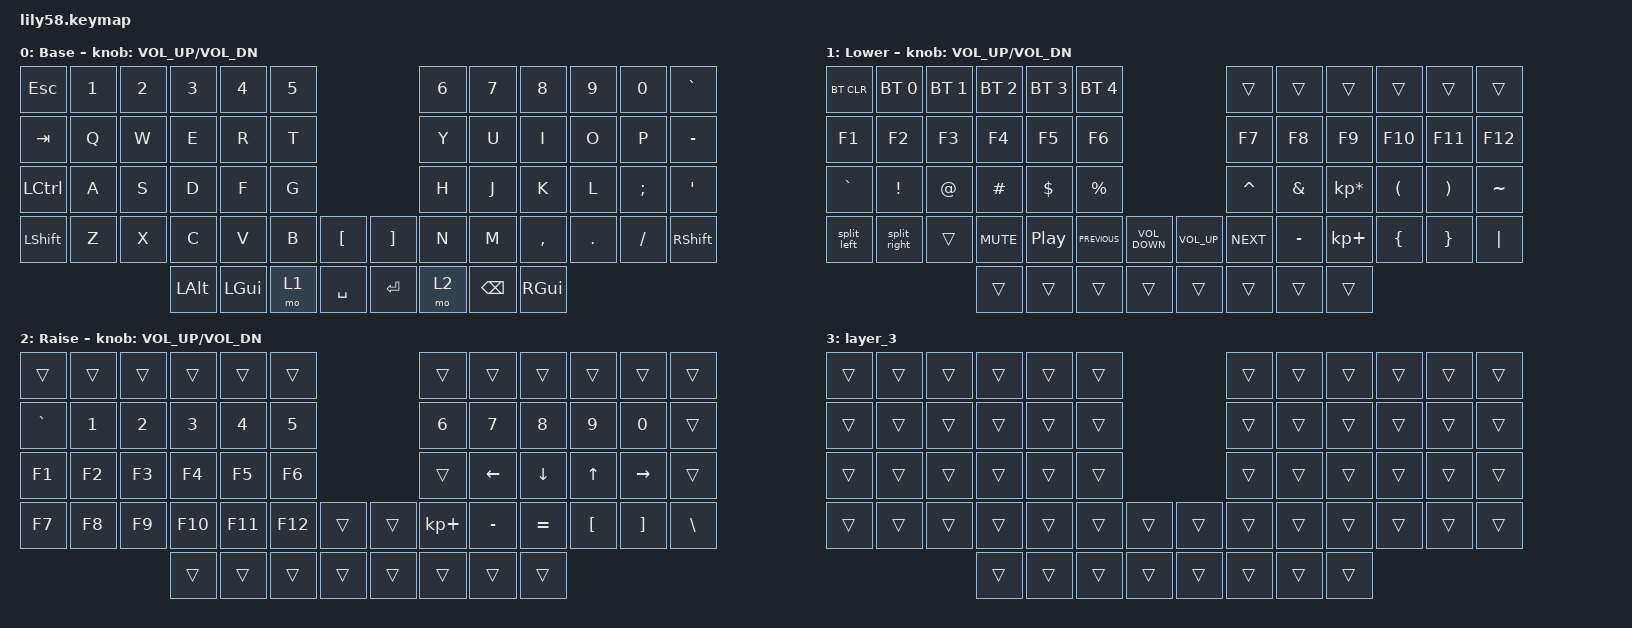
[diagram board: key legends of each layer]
/*
 * Copyright (c) 2020 The ZMK Contributors
 *
 * SPDX-License-Identifier: MIT
 */

#include <behaviors.dtsi>
#include <dt-bindings/zmk/bt.h>
#include <dt-bindings/zmk/keys.h>

/ {
    macros {
        split: split {
            compatible = "zmk,behavior-macro";
            #binding-cells = <0>;
            bindings = <&kp LEFT_CONTROL &kp LEFT_ALT &kp LEFT_COMMAND>;
            label = "SPLIT";
        };

        split_right: split_right {
            compatible = "zmk,behavior-macro";
            #binding-cells = <0>;
            bindings = <&split &kp RIGHT>;
            label = "SPLIT_RIGHT";
        };

        split_left: split_left {
            compatible = "zmk,behavior-macro";
            #binding-cells = <0>;
            bindings = <&split &kp LEFT>;
            label = "SPLIT_LEFT";
        };
    };

    keymap {
        compatible = "zmk,keymap";

        default_layer {
            // ------------------------------------------------------------------------------------------------------------
            // |  ESC  |  1  |  2  |  3   |  4   |  5   |                   |  6   |  7    |  8    |  9   |   0   |   `   |
            // |  TAB  |  Q  |  W  |  E   |  R   |  T   |                   |  Y   |  U    |  I    |  O   |   P   |   -   |
            // |  CTRL |  A  |  S  |  D   |  F   |  G   |                   |  H   |  J    |  K    |  L   |   ;   |   '   |
            // | SHIFT |  Z  |  X  |  C   |  V   |  B   |   "["  |  |  "]"  |  N   |  M    |  ,    |  .   |   /   | SHIFT |
            //                     | ALT  | GUI  | LOWER|  SPACE |  | ENTER | RAISE| BSPC  | GUI   |

            display-name = "Base";
            bindings = <
&kp ESC    &kp N1  &kp N2  &kp N3    &kp N4    &kp N5                         &kp N6  &kp N7    &kp N8     &kp N9   &kp N0    &kp GRAVE
&kp TAB    &kp Q   &kp W   &kp E     &kp R     &kp T                          &kp Y   &kp U     &kp I      &kp O    &kp P     &kp MINUS
&kp LCTRL  &kp A   &kp S   &kp D     &kp F     &kp G                          &kp H   &kp J     &kp K      &kp L    &kp SEMI  &kp SQT
&kp LSHFT  &kp Z   &kp X   &kp C     &kp V     &kp B   &kp LBKT     &kp RBKT  &kp N   &kp M     &kp COMMA  &kp DOT  &kp FSLH  &kp RSHFT
                           &kp LALT  &kp LGUI  &mo 1   &kp SPACE    &kp RET   &mo 2   &kp BSPC  &kp RGUI
            >;

            sensor-bindings = <&inc_dec_kp C_VOL_UP C_VOL_DN>;
        };

        lower_layer {
            // ------------------------------------------------------------------------------------------------------------
            // | BTCLR | BT1 | BT2 |  BT3 |  BT4 |  BT5 |                   |      |       |       |      |       |       |
            // |  F1   |  F2 |  F3 |  F4  |  F5  |  F6  |                   |  F7  |  F8   |  F9   |  F10 |  F11  |  F12  |
            // |   `   |  !  |  @  |  #   |  $   |  %   |                   |  ^   |  &    |  *    |  (   |   )   |   ~   |
            // |       |     |     |      |      |      |        |  |       |      |  _    |  +    |  {   |   }   |  "|"  |
            //                     |      |      |      |        |  |       |      |       |       |

            display-name = "Lower";
            bindings = <
&bt BT_CLR   &bt BT_SEL 0  &bt BT_SEL 1  &bt BT_SEL 2  &bt BT_SEL 3      &bt BT_SEL 4                                       &trans      &trans     &trans           &trans    &trans    &trans
&kp F1       &kp F2        &kp F3        &kp F4        &kp F5            &kp F6                                             &kp F7      &kp F8     &kp F9           &kp F10   &kp F11   &kp F12
&kp GRAVE    &kp EXCL      &kp AT        &kp HASH      &kp DOLLAR        &kp PRCNT                                          &kp CARET   &kp AMPS   &kp KP_MULTIPLY  &kp LPAR  &kp RPAR  &kp TILDE
&split_left  &split_right  &trans        &kp C_MUTE    &kp C_PLAY_PAUSE  &kp K_PREVIOUS  &kp C_VOLUME_DOWN    &kp C_VOL_UP  &kp C_NEXT  &kp MINUS  &kp KP_PLUS      &kp LBRC  &kp RBRC  &kp PIPE
                                         &trans        &trans            &trans          &trans               &trans        &trans      &trans     &trans
            >;

            sensor-bindings = <&inc_dec_kp C_VOL_UP C_VOL_DN>;
        };

        raise_layer {
            // ------------------------------------------------------------------------------------------------------------
            // |       |     |     |      |      |      |                   |      |       |       |      |       |       |
            // |   `   |  1  |  2  |  3   |  4   |  5   |                   |  6   |   7   |   8   |  9   |   0   |       |
            // |   F1  |  F2 |  F3 |  F4  |  F5  |  F6  |                   |      |   <-  |   v   |  ^   |  ->   |       |
            // |   F7  |  F8 |  F9 |  F10 |  F11 |  F12 |        |  |       |  +   |   -   |   =   |  [   |   ]   |   \   |
            //                     |      |      |      |        |  |       |      |       |       |

            display-name = "Raise";
            bindings = <
&trans     &trans  &trans  &trans   &trans   &trans                     &trans       &trans     &trans     &trans    &trans     &trans
&kp GRAVE  &kp N1  &kp N2  &kp N3   &kp N4   &kp N5                     &kp N6       &kp N7     &kp N8     &kp N9    &kp N0     &trans
&kp F1     &kp F2  &kp F3  &kp F4   &kp F5   &kp F6                     &trans       &kp LEFT   &kp DOWN   &kp UP    &kp RIGHT  &trans
&kp F7     &kp F8  &kp F9  &kp F10  &kp F11  &kp F12  &trans    &trans  &kp KP_PLUS  &kp MINUS  &kp EQUAL  &kp LBKT  &kp RBKT   &kp BSLH
                           &trans   &trans   &trans   &trans    &trans  &trans       &trans     &trans
            >;

            sensor-bindings = <&inc_dec_kp C_VOL_UP C_VOL_DN>;
        };

        layer_3 {
            bindings = <
&trans  &trans  &trans  &trans  &trans  &trans                    &trans  &trans  &trans  &trans  &trans  &trans
&trans  &trans  &trans  &trans  &trans  &trans                    &trans  &trans  &trans  &trans  &trans  &trans
&trans  &trans  &trans  &trans  &trans  &trans                    &trans  &trans  &trans  &trans  &trans  &trans
&trans  &trans  &trans  &trans  &trans  &trans  &trans    &trans  &trans  &trans  &trans  &trans  &trans  &trans
                        &trans  &trans  &trans  &trans    &trans  &trans  &trans  &trans
            >;
        };
    };
};
